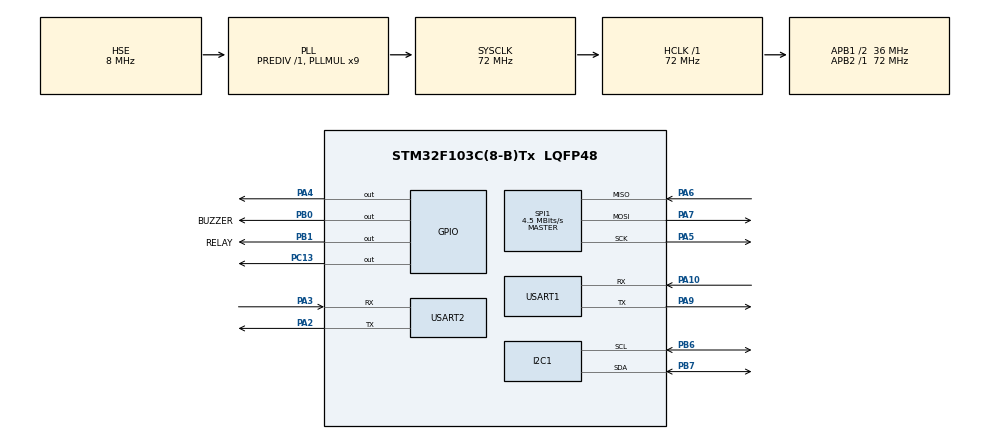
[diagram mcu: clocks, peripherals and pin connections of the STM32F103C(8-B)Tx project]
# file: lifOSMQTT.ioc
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Mcu.Family=STM32F1
Mcu.Name=STM32F103C(8-B)Tx
Mcu.Package=LQFP48
NVIC.PriorityGroup=NVIC_PRIORITYGROUP_4
NVIC.USART1_IRQn=true\:0\:0\:false\:false\:true\:true\:true\:true
PA10.Mode=Asynchronous
PA10.Signal=USART1_RX
PA13.Mode=Serial_Wire
PA13.Signal=SYS_JTMS-SWDIO
PA14.Mode=Serial_Wire
PA14.Signal=SYS_JTCK-SWCLK
PA2.Mode=Asynchronous
PA2.Signal=USART2_TX
PA3.Mode=Asynchronous
PA3.Signal=USART2_RX
PA4.Signal=GPIO_Output
PA5.Mode=Full_Duplex_Master
PA5.Signal=SPI1_SCK
PA6.Mode=Full_Duplex_Master
PA6.Signal=SPI1_MISO
PA7.Mode=Full_Duplex_Master
PA7.Signal=SPI1_MOSI
PA9.Mode=Asynchronous
PA9.Signal=USART1_TX
PB0.GPIO_Label=BUZZER
PB0.Signal=GPIO_Output
PB1.GPIO_Label=RELAY
PB1.Signal=GPIO_Output
PB6.Mode=I2C
PB6.Signal=I2C1_SCL
PB7.Mode=I2C
PB7.Signal=I2C1_SDA
PC13-TAMPER-RTC.Signal=GPIO_Output
PD0-OSC_IN.Mode=HSE-External-Oscillator
PD0-OSC_IN.Signal=RCC_OSC_IN
PD1-OSC_OUT.Mode=HSE-External-Oscillator
PD1-OSC_OUT.Signal=RCC_OSC_OUT
ProjectManager.HeapSize=0x200
ProjectManager.StackSize=0x400
ProjectManager.TargetToolchain=STM32CubeIDE
RCC.AHBFreq_Value=72000000
RCC.APB1CLKDivider=RCC_HCLK_DIV2
RCC.APB1Freq_Value=36000000
RCC.APB1TimFreq_Value=72000000
RCC.APB2Freq_Value=72000000
RCC.APB2TimFreq_Value=72000000
RCC.HCLKFreq_Value=72000000
RCC.PLLMUL=RCC_PLL_MUL9
RCC.PLLSourceVirtual=RCC_PLLSOURCE_HSE
RCC.SYSCLKFreq_VALUE=72000000
RCC.SYSCLKSource=RCC_SYSCLKSOURCE_PLLCLK
RCC.USBFreq_Value=72000000
SPI1.BaudRatePrescaler=SPI_BAUDRATEPRESCALER_16
SPI1.CalculateBaudRate=4.5 MBits/s
SPI1.Direction=SPI_DIRECTION_2LINES
SPI1.Mode=SPI_MODE_MASTER
SPI1.VirtualType=VM_MASTER
USART1.VirtualMode=VM_ASYNC
USART2.VirtualMode=VM_ASYNC
board=custom

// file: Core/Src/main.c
/* USER CODE BEGIN Header */
/**
  ******************************************************************************
  * @file           : main.c
  * @brief          : Main program body
  ******************************************************************************
  * @attention
  *
  * Copyright (c) 2023 STMicroelectronics.
  * All rights reserved.
  *
  * This software is licensed under terms that can be found in the LICENSE file
  * in the root directory of this software component.
  * If no LICENSE file comes with this software, it is provided AS-IS.
  *
  ******************************************************************************
  */
/* USER CODE END Header */
#include "main.h"

/* USER CODE BEGIN Includes */
#include "liquidcrystal_i2c.h"
#include "rc522.h"
#include "stdio.h"
#include <string.h>
#include <stdlib.h>
#include "switchSounds.h"
#include "quectelCommands.h"
#include "GEOtextLib.h"

/* USER CODE END Includes */

/* USER CODE BEGIN PTD */
#define versionAdress 0x0800BFF0

unsigned long T,timer;
int check = 1;
int temp = 0;
int LENGTH = 0;
uint8_t c;
uint8_t readSatus=0;
uint8_t postData[255];
uint8_t *P;
uint8_t data[50];
uint8_t buffer[128];
uint8_t buffer1[128];
uint8_t MQTT_CHECK_DATA[100];
int count = 0;
/* USER CODE END PTD */

I2C_HandleTypeDef hi2c1;

SPI_HandleTypeDef hspi1;

UART_HandleTypeDef huart1;
UART_HandleTypeDef huart2;

void SystemClock_Config(void);
static void MX_GPIO_Init(void);
static void MX_I2C1_Init(void);
static void MX_SPI1_Init(void);
static void MX_USART1_UART_Init(void);
static void MX_USART2_UART_Init(void);
/* USER CODE BEGIN PFP */
void HAL_UART_RxCpltCallback(UART_HandleTypeDef *huart)
{

	if(count >= 124){
		count = 0;
	}

	if(buffer[count] != '!'){

		count++;
		HAL_UART_Receive_IT(&huart1, &buffer[count], 1);

	}
	else{
		readSatus = 1;
	}

}
/* USER CODE END PFP */

/* USER CODE BEGIN 0 */
uint8_t MFRC522_Check(uint8_t *id);
uint8_t MFRC522_Compare(uint8_t *CardID, uint8_t *CompareID);
void MFRC522_WriteRegister(uint8_t addr, uint8_t val);
uint8_t MFRC522_ReadRegister(uint8_t addr);
void MFRC522_SetBitMask(uint8_t reg, uint8_t mask);
void MFRC522_ClearBitMask(uint8_t reg, uint8_t mask);
uint8_t MFRC522_Request(uint8_t reqMode, uint8_t *TagType);
uint8_t MFRC522_ToCard(uint8_t command, uint8_t *sendData, uint8_t sendLen,
		uint8_t *backData, uint16_t *backLen);
uint8_t MFRC522_Anticoll(uint8_t *serNum);
void MFRC522_CalulateCRC(uint8_t *pIndata, uint8_t len, uint8_t *pOutData);
uint8_t MFRC522_SelectTag(uint8_t *serNum);
uint8_t MFRC522_Auth(uint8_t authMode, uint8_t BlockAddr, uint8_t *Sectorkey,
		uint8_t *serNum);
uint8_t MFRC522_Read(uint8_t blockAddr, uint8_t *recvData);
uint8_t MFRC522_Write(uint8_t blockAddr, uint8_t *writeData);
void MFRC522_Init(void);
void MFRC522_Reset(void);
void MFRC522_AntennaOn(void);
void MFRC522_AntennaOff(void);
void MFRC522_Halt(void);
void cardOperation(uint8_t* finalData, uint8_t* p);
void led(uint8_t n);
void readCardData(uint8_t* finalData);
uint8_t cardOperationWithBlockedSector(uint8_t* finalData);

int takeStatus(uint8_t* data, int length){
	int i;
	uint8_t STATUSSTR[3];
	for(i =5; i< length; i++){
	  if(data[i] == '<')
	  {
		  break;
	  }
	}

	STATUSSTR[0] = data[i+1];
	STATUSSTR[1] = data[i+2];
	STATUSSTR[2] = data[i+3];
	int Status = atoi((char*)STATUSSTR);
	return Status;

}
void takeData(uint8_t* data, int length, uint8_t* dataToDisplay){
	int i,j,l;
	for(i =5; i< length; i++){
	  if(data[i] == '<')
	  {
		  break;
	  }
	}
	for(j = i; j< length; j++){
	  if(data[j] == ',')
		 {
			  break;
		 }
	}

	for(l = j; l< length; l++){
	  if(data[l] == '!')
		 {
			  break;
		 }
	}

	strncpy((char *)dataToDisplay, (char *)data + j + 1, l - j - 1);

}
void quectelInit(){
	  memset(buffer, 0, sizeof(buffer));

	 checkQueqtelWithNoEcho(buffer);
	  HD44780_PrintStr("#");
	  memset(buffer, 0, sizeof(buffer));

	 ckeckQuectelSignalWithNoEcho(buffer);
	  HD44780_PrintStr("#");
	  memset(buffer, 0, sizeof(buffer));

	 MQTTRecMod(buffer);
	  HD44780_PrintStr("#");
	  memset(buffer, 0, sizeof(buffer));

	 MQTTOpenPort(buffer);
	  HD44780_PrintStr("##");
	  memset(buffer, 0, sizeof(buffer));

	 MQTTConnect(buffer);
	  HD44780_PrintStr("##");
	  memset(buffer, 0, sizeof(buffer));

	 MQTTSubToTopic(buffer);

	  //memset(buffer, 0, sizeof(buffer));

	  //MQTTPubToTopic(buffer, MQTT_EXMP_DATA);
	  HD44780_PrintStr("#");
	  memset(buffer, 0, sizeof(buffer));

      HAL_Delay(500);
}

/* USER CODE END 0 */

int main(void)
{
  /* USER CODE BEGIN 1 */
//	__disable_irq();
//	SCB->VTOR = 0x800C000;
//	__enable_irq();
  /* USER CODE END 1 */

  /* MCU Configuration--------------------------------------------------------*/

  /* Reset of all peripherals, Initializes the Flash interface and the Systick. */

	HAL_Init();

  /* Configure the system clock */
  SystemClock_Config();

  /* Initialize all configured peripherals */
  MX_GPIO_Init();
  MX_I2C1_Init();
  MX_SPI1_Init();
  MX_USART1_UART_Init();
  MX_USART2_UART_Init();
  /* USER CODE BEGIN 2 */
  HD44780_Init(2);
  //HAL_Delay(16000);
  printMzadVar(0, 3);
  HD44780_SetCursor(0, 1);
//  for(int i = 0;i<2; i++){
//	  quectelInit();
//  }

  MFRC522_Init();

  	led(1);
  	led(1);
  	led(1);
  	uint8_t cardRead = 0;
  	int CardTime;

  	//uint8_t stat = checkMQTTCon(buffer);

  	uint32_t version = *(__IO uint32_t *)versionAdress; // for version check
    sprintf((char*) MQTT_CHECK_DATA, "{\"operationType\":\"check\",\"content\":{\"terminalID\":\"164522982240839\",\"firmwareVersion\":%lx}}", version);

//  	MQTTPubToTopic(strlen((char*)MQTT_CHECK_DATA));
//  	HAL_UART_Transmit(&huart1, MQTT_CHECK_DATA, strlen((char*)MQTT_CHECK_DATA), 50);
//  	HAL_UART_Receive(&huart1, buffer1, 125, 1000);
//  	int lengthOfCheckData = strlen((char*)buffer1);
//  	int StatusCheck = takeStatus(buffer1, lengthOfCheckData);
//
//  	if(StatusCheck != 200)HAL_NVIC_SystemReset();
  	HAL_UART_Receive_IT(&huart1, &buffer[count], 1);
  	T = HAL_GetTick();
  	 printMiadetBarati(0, 2);
  	/* USER CODE END 2 */

  /* Infinite loop */
  /* USER CODE BEGIN WHILE */
  while (1)
  {
	  if(cardRead == 1){
		  if(HAL_GetTick() - CardTime >= 20000){
			  printShecdoma(0, 4);
			  HAL_Delay(3000);
			  printMiadetBarati(0, 2);
			  cardRead = 0;

		  }

	  }
	  if(HAL_GetTick() - T >=(10000) && cardRead == 0){

		  if(temp >= check)HAL_NVIC_SystemReset();
		  MQTTPubToTopic(strlen((char*)MQTT_CHECK_DATA));
		  HAL_UART_Transmit(&huart1, MQTT_CHECK_DATA, strlen((char*)MQTT_CHECK_DATA), 50);
		  T = HAL_GetTick();
		  temp = check;
	  }

	  if(readSatus){
		  int Status = takeStatus(buffer, count);
		  uint8_t dispData[50];

		  switch(Status){
		  	  	case 200:
		  	  		//AppruveSound();
		  	  		printUcxoBaratia(0, 0);
		  	  		check++;
		  	  		break;
		  	  	case 201:
					AppruveSound();
					takeData(buffer, count, dispData);
					printBalansi(0, 0);
					HD44780_PrintStr((char*) dispData);
					RelaySwitch();
					HAL_Delay(2000);
					printMiadetBarati(0, 2);
					cardRead = 0;
					break;
				case 293:
					takeData(buffer, count, dispData);
					HD44780_Clear();
					HD44780_SetCursor(0, 0);
					printUcxoBaratia(0,0);
					ErrorSound();
					HAL_Delay(1000);
					printMiadetBarati(0, 2);
					cardRead = 0;
					break;
				case 291:
					takeData(buffer, count, dispData);
					HD44780_Clear();
					HD44780_SetCursor(0, 0);
					printBlansiAraa(0, 0);
					ErrorSound();
					HAL_Delay(1000);
					printMiadetBarati(0, 2);
					cardRead = 0;
					break;
				case 296:
					takeData(buffer, count, dispData);
					HD44780_Clear();
					HD44780_SetCursor(0, 0);
					HD44780_PrintStr((char*) dispData);
					ErrorSound();
					HAL_Delay(3000);
					printMiadetBarati(0, 2);
					cardRead = 0;
					break;
				case 297:
					takeData(buffer, count, dispData);
					HD44780_Clear();
					HD44780_SetCursor(0, 0);
					HD44780_PrintStr((char*) dispData);
					ErrorSound();
					HAL_Delay(3000);
					printMiadetBarati(0, 2);
					cardRead = 0;
					break;
				case 299:
					takeData(buffer, count, dispData);
					HD44780_Clear();
					HD44780_SetCursor(0, 0);
					HD44780_PrintStr((char*) dispData);
					ErrorSound();
					HAL_Delay(3000);
					printMiadetBarati(0, 2);
					cardRead = 0;
					break;
				default:
					memset(buffer, 0, sizeof(buffer));
				    memset(dispData, 0, sizeof(dispData));
					readSatus = 0;
					count = 0;
					printMiadetBarati(0, 2);
					cardRead = 0;

		  }
		  memset(buffer, 0, sizeof(buffer));
		  memset(dispData, 0, sizeof(dispData));
		  readSatus = 0;
		  count = 0;
		  HAL_UART_Receive_IT(&huart1, &buffer[count], 1);
		 }

	 uint8_t catStat = cardOperationWithBlockedSector(postData);
	 if(catStat == 1 && cardRead == 0){
		 uint8_t bpundCount = 0;
		 uint8_t postEnable = 0;

		 LENGTH = strlen((char*)postData);

		 for(int i = 0; i< LENGTH+5; i++){

			 if(postData[i]== '{' || postData[i] == '}'){
				 bpundCount++;
			 }

		 }
		 if(bpundCount != 4){
		 	postEnable = 1;
		 	memset(postData, 0, sizeof(postData));
		  }

		 if(postEnable == 0){
			 CardReadSound();
			 printDaicadet(0, 3);
			 MQTTPubToTopic(LENGTH);
			 HAL_Delay(50);

			 HAL_UART_Transmit(&huart1, postData, LENGTH, 100);

			 memset(postData, 0, sizeof(postData));
			 cardRead = 1;
			 CardTime = HAL_GetTick();
		 }
		 //memset(buffer, 0, sizeof(buffer));
	 }

    /* USER CODE END WHILE */

  }
}

void SystemClock_Config(void)
{
  RCC_OscInitTypeDef RCC_OscInitStruct = {0};
  RCC_ClkInitTypeDef RCC_ClkInitStruct = {0};

  /** Initializes the RCC Oscillators according to the specified parameters
  * in the RCC_OscInitTypeDef structure.
  */
  RCC_OscInitStruct.OscillatorType = RCC_OSCILLATORTYPE_HSE;
  RCC_OscInitStruct.HSEState = RCC_HSE_ON;
  RCC_OscInitStruct.HSEPredivValue = RCC_HSE_PREDIV_DIV1;
  RCC_OscInitStruct.HSIState = RCC_HSI_ON;
  RCC_OscInitStruct.PLL.PLLState = RCC_PLL_ON;
  RCC_OscInitStruct.PLL.PLLSource = RCC_PLLSOURCE_HSE;
  RCC_OscInitStruct.PLL.PLLMUL = RCC_PLL_MUL9;
  if (HAL_RCC_OscConfig(&RCC_OscInitStruct) != HAL_OK)
  {
    Error_Handler();
  }

  /** Initializes the CPU, AHB and APB buses clocks
  */
  RCC_ClkInitStruct.ClockType = RCC_CLOCKTYPE_HCLK|RCC_CLOCKTYPE_SYSCLK
                              |RCC_CLOCKTYPE_PCLK1|RCC_CLOCKTYPE_PCLK2;
  RCC_ClkInitStruct.SYSCLKSource = RCC_SYSCLKSOURCE_PLLCLK;
  RCC_ClkInitStruct.AHBCLKDivider = RCC_SYSCLK_DIV1;
  RCC_ClkInitStruct.APB1CLKDivider = RCC_HCLK_DIV2;
  RCC_ClkInitStruct.APB2CLKDivider = RCC_HCLK_DIV1;

  if (HAL_RCC_ClockConfig(&RCC_ClkInitStruct, FLASH_LATENCY_2) != HAL_OK)
  {
    Error_Handler();
  }
}

static void MX_I2C1_Init(void)
{

  hi2c1.Instance = I2C1;
  hi2c1.Init.ClockSpeed = 100000;
  hi2c1.Init.DutyCycle = I2C_DUTYCYCLE_2;
  hi2c1.Init.OwnAddress1 = 0;
  hi2c1.Init.AddressingMode = I2C_ADDRESSINGMODE_7BIT;
  hi2c1.Init.DualAddressMode = I2C_DUALADDRESS_DISABLE;
  hi2c1.Init.OwnAddress2 = 0;
  hi2c1.Init.GeneralCallMode = I2C_GENERALCALL_DISABLE;
  hi2c1.Init.NoStretchMode = I2C_NOSTRETCH_DISABLE;
  if (HAL_I2C_Init(&hi2c1) != HAL_OK)
  {
    Error_Handler();
  }

}

static void MX_SPI1_Init(void)
{

  /* SPI1 parameter configuration*/
  hspi1.Instance = SPI1;
  hspi1.Init.Mode = SPI_MODE_MASTER;
  hspi1.Init.Direction = SPI_DIRECTION_2LINES;
  hspi1.Init.DataSize = SPI_DATASIZE_8BIT;
  hspi1.Init.CLKPolarity = SPI_POLARITY_LOW;
  hspi1.Init.CLKPhase = SPI_PHASE_1EDGE;
  hspi1.Init.NSS = SPI_NSS_SOFT;
  hspi1.Init.BaudRatePrescaler = SPI_BAUDRATEPRESCALER_16;
  hspi1.Init.FirstBit = SPI_FIRSTBIT_MSB;
  hspi1.Init.TIMode = SPI_TIMODE_DISABLE;
  hspi1.Init.CRCCalculation = SPI_CRCCALCULATION_DISABLE;
  hspi1.Init.CRCPolynomial = 10;
  if (HAL_SPI_Init(&hspi1) != HAL_OK)
  {
    Error_Handler();
  }

}

static void MX_USART1_UART_Init(void)
{

  huart1.Instance = USART1;
  huart1.Init.BaudRate = 115200;
  huart1.Init.WordLength = UART_WORDLENGTH_8B;
  huart1.Init.StopBits = UART_STOPBITS_1;
  huart1.Init.Parity = UART_PARITY_NONE;
  huart1.Init.Mode = UART_MODE_TX_RX;
  huart1.Init.HwFlowCtl = UART_HWCONTROL_NONE;
  huart1.Init.OverSampling = UART_OVERSAMPLING_16;
  if (HAL_UART_Init(&huart1) != HAL_OK)
  {
    Error_Handler();
  }

}

static void MX_USART2_UART_Init(void)
{

  huart2.Instance = USART2;
  huart2.Init.BaudRate = 115200;
  huart2.Init.WordLength = UART_WORDLENGTH_8B;
  huart2.Init.StopBits = UART_STOPBITS_1;
  huart2.Init.Parity = UART_PARITY_NONE;
  huart2.Init.Mode = UART_MODE_TX_RX;
  huart2.Init.HwFlowCtl = UART_HWCONTROL_NONE;
  huart2.Init.OverSampling = UART_OVERSAMPLING_16;
  if (HAL_UART_Init(&huart2) != HAL_OK)
  {
    Error_Handler();
  }

}

static void MX_GPIO_Init(void)
{
  GPIO_InitTypeDef GPIO_InitStruct = {0};

  /* GPIO Ports Clock Enable */
  __HAL_RCC_GPIOC_CLK_ENABLE();
  __HAL_RCC_GPIOD_CLK_ENABLE();
  __HAL_RCC_GPIOA_CLK_ENABLE();
  __HAL_RCC_GPIOB_CLK_ENABLE();

  /*Configure GPIO pin Output Level */
  HAL_GPIO_WritePin(GPIOC, GPIO_PIN_13, GPIO_PIN_RESET);

  /*Configure GPIO pin Output Level */
  HAL_GPIO_WritePin(GPIOA, GPIO_PIN_4, GPIO_PIN_RESET);

  /*Configure GPIO pin Output Level */
  HAL_GPIO_WritePin(GPIOB, BUZZER_Pin|RELAY_Pin, GPIO_PIN_RESET);

  /*Configure GPIO pin : PC13 */
  GPIO_InitStruct.Pin = GPIO_PIN_13;
  GPIO_InitStruct.Mode = GPIO_MODE_OUTPUT_PP;
  GPIO_InitStruct.Pull = GPIO_NOPULL;
  GPIO_InitStruct.Speed = GPIO_SPEED_FREQ_LOW;
  HAL_GPIO_Init(GPIOC, &GPIO_InitStruct);

  /*Configure GPIO pin : PA4 */
  GPIO_InitStruct.Pin = GPIO_PIN_4;
  GPIO_InitStruct.Mode = GPIO_MODE_OUTPUT_PP;
  GPIO_InitStruct.Pull = GPIO_NOPULL;
  GPIO_InitStruct.Speed = GPIO_SPEED_FREQ_LOW;
  HAL_GPIO_Init(GPIOA, &GPIO_InitStruct);

  /*Configure GPIO pins : BUZZER_Pin RELAY_Pin */
  GPIO_InitStruct.Pin = BUZZER_Pin|RELAY_Pin;
  GPIO_InitStruct.Mode = GPIO_MODE_OUTPUT_PP;
  GPIO_InitStruct.Pull = GPIO_NOPULL;
  GPIO_InitStruct.Speed = GPIO_SPEED_FREQ_LOW;
  HAL_GPIO_Init(GPIOB, &GPIO_InitStruct);

}

void Error_Handler(void)
{
  __disable_irq();
  while (1)
  {
  }
}
